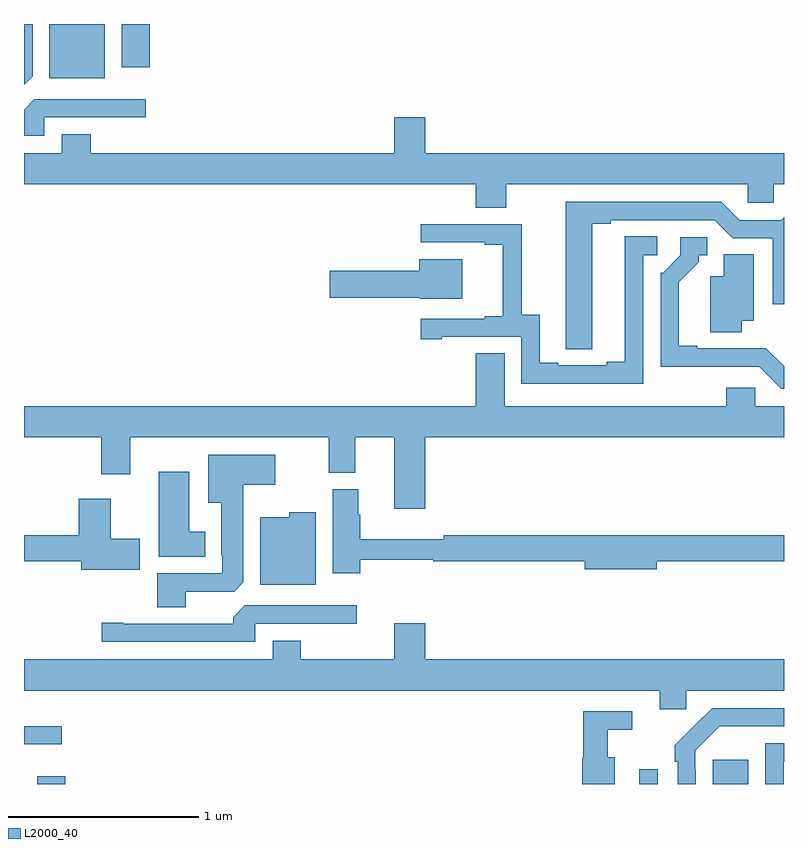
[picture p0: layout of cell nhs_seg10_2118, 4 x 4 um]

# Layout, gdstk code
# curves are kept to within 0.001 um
import gdstk
lib = gdstk.Library(unit=1e-6, precision=1e-09)
def R(c, l, rs):  # rectangles x0, y0, x1, y1
    for r in rs: c.add(gdstk.rectangle(r[:2], r[2:], *l))
def P(c, l, *ps):  # polygons
    for p in ps: c.add(gdstk.Polygon(p, *l))
L2000_40 = (2000, 40)

nhs_seg10_2118 = lib.new_cell('nhs_seg10_2118')
R(nhs_seg10_2118, L2000_40, [(223.07,1290.5,223.217,1290.541), (226.239,1290.5,226.335,1290.577), (226.625,1290.5,226.813,1290.628), (223,1290.708,223.198,1290.804), (223.133,1294.214,223.426,1294.5), (223.514,1294.272,223.661,1294.5)])
P(nhs_seg10_2118, L2000_40, [(223.045,1294.225),(223.045,1294.5),(223,1294.5),(223,1294.18)],
  [(223.107,1294.008),(223.642,1294.008),(223.642,1294.104),(223.053,1294.104),(223,1294.05),(223,1293.912),(223.107,1293.912)],
  [(225.537,1293.656),(226.809,1293.656),(226.809,1293.558),(226.947,1293.558),(226.947,1293.656),(227,1293.656),(227,1293.82),(225.112,1293.82),(225.112,1294.009),(224.948,1294.009),(224.948,1293.82),(223.352,1293.82),(223.352,1293.919),(223.199,1293.919),(223.199,1293.82),(223,1293.82),(223,1293.656),(225.377,1293.656),(225.377,1293.532),(225.537,1293.532)],
  [(225.991,1293.448),(226.087,1293.448),(226.087,1293.468),(226.635,1293.468),(226.731,1293.372),(226.941,1293.372),(226.941,1293.024),(227,1293.024),(227,1293.483),(226.985,1293.468),(226.767,1293.468),(226.671,1293.564),(225.851,1293.564),(225.852,1292.788),(225.991,1292.788)],
  [(226.26,1293.282),(226.333,1293.282),(226.333,1293.383),(226.163,1293.383),(226.163,1292.723),(226.067,1292.723),(226.067,1292.703),(225.811,1292.703),(225.811,1292.718),(225.715,1292.718),(225.715,1292.969),(225.621,1292.969),(225.621,1293.447),(225.087,1293.447),(225.087,1293.351),(225.425,1293.351),(225.425,1293.339),(225.521,1293.339),(225.521,1292.962),(225.425,1292.962),(225.425,1292.949),(225.087,1292.949),(225.087,1292.841),(225.199,1292.841),(225.199,1292.853),(225.618,1292.853),(225.618,1292.607),(226.26,1292.607)],
  [(227,1292.698),(226.904,1292.794),(226.543,1292.793),(226.543,1292.806),(226.447,1292.806),(226.447,1293.142),(226.552,1293.247),(226.552,1293.282),(226.597,1293.282),(226.597,1293.378),(226.455,1293.378),(226.455,1293.282),(226.365,1293.192),(226.35,1293.192),(226.35,1292.696),(226.869,1292.697),(226.986,1292.58),(227,1292.58)],
  [(226.777,1292.939),(226.84,1292.939),(226.84,1293.287),(226.682,1293.287),(226.682,1293.172),(226.613,1293.172),(226.613,1292.878),(226.777,1292.878)],
  [(225.307,1293.262),(225.08,1293.262),(225.08,1293.201),(224.61,1293.201),(224.61,1293.059),(225.084,1293.059),(225.084,1293.053),(225.307,1293.053)],
  [(225.112,1292.324),(227,1292.324),(227,1292.488),(226.848,1292.488),(226.848,1292.586),(226.697,1292.586),(226.697,1292.488),(225.529,1292.488),(225.529,1292.768),(225.377,1292.768),(225.377,1292.488),(223,1292.488),(223,1292.324),(223.406,1292.324),(223.406,1292.13),(223.558,1292.13),(223.558,1292.324),(224.603,1292.324),(224.603,1292.137),(224.743,1292.137),(224.743,1292.324),(224.948,1292.324),(224.948,1291.95),(225.112,1291.95)],
  [(223.852,1291.512),(224.106,1291.512),(224.155,1291.561),(224.155,1292.075),(224.323,1292.075),(224.323,1292.233),(223.97,1292.233),(223.97,1291.979),(224.039,1291.979),(224.039,1291.705),(224.043,1291.705),(224.043,1291.608),(223.7,1291.608),(223.7,1291.429),(223.852,1291.429)],
  [(223.954,1291.828),(223.87,1291.828),(223.87,1292.143),(223.709,1292.143),(223.709,1291.697),(223.954,1291.697)],
  [(224.771,1291.68),(225.154,1291.68),(225.154,1291.672),(225.95,1291.672),(225.95,1291.63),(226.33,1291.63),(226.33,1291.672),(227,1291.672),(227,1291.808),(225.208,1291.808),(225.208,1291.789),(224.771,1291.789),(224.771,1291.916),(224.758,1291.916),(224.758,1292.052),(224.624,1292.052),(224.624,1291.608),(224.771,1291.608)],
  [(223.609,1291.791),(223.456,1291.791),(223.456,1292.002),(223.289,1292.002),(223.289,1291.808),(223,1291.808),(223,1291.672),(223.301,1291.672),(223.301,1291.628),(223.609,1291.628)],
  [(224.536,1291.93),(224.397,1291.93),(224.397,1291.903),(224.243,1291.903),(224.243,1291.55),(224.536,1291.55)],
  [(224.217,1291.344),(224.752,1291.344),(224.752,1291.44),(224.163,1291.44),(224.102,1291.378),(224.102,1291.344),(223.522,1291.344),(223.522,1291.349),(223.41,1291.349),(223.41,1291.248),(224.217,1291.248)],
  [(226.485,1290.992),(227,1290.992),(227,1291.156),(225.112,1291.156),(225.112,1291.345),(224.948,1291.345),(224.948,1291.156),(224.457,1291.156),(224.457,1291.255),(224.309,1291.255),(224.309,1291.156),(223,1291.156),(223,1290.992),(226.346,1290.992),(226.346,1290.894),(226.485,1290.894)],
  [(226.536,1290.575),(226.533,1290.575),(226.533,1290.675),(226.662,1290.804),(227,1290.804),(227,1290.9),(226.622,1290.9),(226.425,1290.705),(226.425,1290.617),(226.44,1290.617),(226.44,1290.5),(226.536,1290.5)],
  [(226.108,1290.64),(226.072,1290.64),(226.072,1290.785),(226.201,1290.785),(226.201,1290.882),(225.943,1290.882),(225.943,1290.636),(225.938,1290.636),(225.938,1290.5),(226.108,1290.5)],
  [(226.998,1290.618),(227,1290.618),(227,1290.714),(226.902,1290.714),(226.902,1290.5),(226.998,1290.5)])

lib.write_gds('nhs_seg10_2118.gds')
